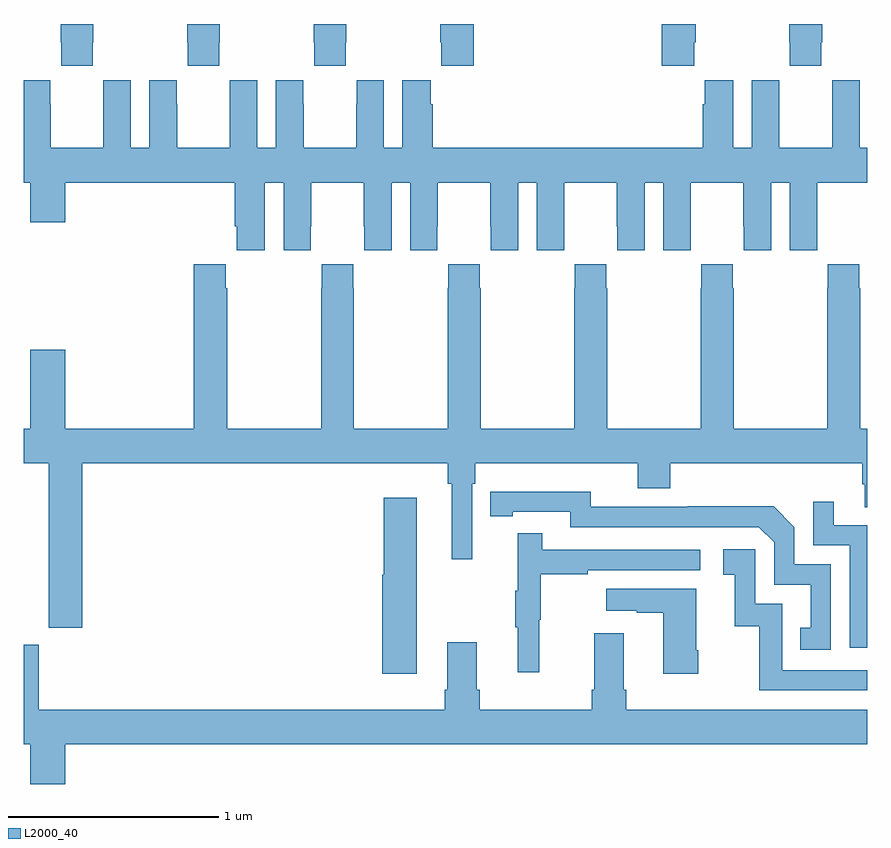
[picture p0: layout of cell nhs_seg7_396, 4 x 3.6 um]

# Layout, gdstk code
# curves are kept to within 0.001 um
import gdstk
lib = gdstk.Library(unit=1e-6, precision=1e-09)
def P(c, l, *ps):  # polygons
    for p in ps: c.add(gdstk.Polygon(p, *l))
L2000_40 = (2000, 40)

nhs_seg7_396 = lib.new_cell('nhs_seg7_396')
P(nhs_seg7_396, L2000_40, [(141.927,1035.913),(141.93,1035.913),(141.93,1036),(141.775,1036),(141.775,1035.913),(141.777,1035.913),(141.777,1035.801),(141.927,1035.801)],
  [(141.327,1035.913),(141.33,1035.913),(141.33,1036),(141.175,1036),(141.175,1035.913),(141.177,1035.913),(141.177,1035.801),(141.327,1035.801)],
  [(144.783,1035.913),(144.786,1035.913),(144.786,1036),(144.631,1036),(144.631,1035.913),(144.633,1035.913),(144.633,1035.801),(144.783,1035.801)],
  [(144.179,1035.913),(144.186,1035.913),(144.186,1036),(144.026,1036),(144.026,1035.801),(144.179,1035.801)],
  [(142.527,1035.913),(142.53,1035.913),(142.53,1036),(142.375,1036),(142.375,1035.913),(142.377,1035.913),(142.377,1035.801),(142.527,1035.801)],
  [(143.135,1036),(142.975,1036),(142.975,1035.913),(142.981,1035.913),(142.981,1035.801),(143.135,1035.801)],
  [(142.94,1035.62),(142.93,1035.62),(142.93,1035.733),(142.796,1035.733),(142.796,1035.412),(142.708,1035.412),(142.708,1035.733),(142.578,1035.733),(142.578,1035.62),(142.577,1035.62),(142.577,1035.412),(142.327,1035.412),(142.327,1035.62),(142.326,1035.62),(142.326,1035.733),(142.196,1035.733),(142.196,1035.412),(142.108,1035.412),(142.108,1035.733),(141.978,1035.733),(141.978,1035.62),(141.977,1035.62),(141.977,1035.412),(141.727,1035.412),(141.727,1035.62),(141.726,1035.62),(141.726,1035.733),(141.596,1035.733),(141.596,1035.412),(141.508,1035.412),(141.508,1035.733),(141.378,1035.733),(141.378,1035.62),(141.377,1035.62),(141.377,1035.412),(141.127,1035.412),(141.127,1035.62),(141.126,1035.62),(141.126,1035.733),(141,1035.733),(141,1035.248),(141.032,1035.248),(141.032,1035.06),(141.196,1035.06),(141.196,1035.248),(142.001,1035.248),(142.001,1035.04),(142.01,1035.04),(142.01,1034.928),(142.144,1034.928),(142.144,1035.248),(142.232,1035.248),(142.232,1034.928),(142.362,1034.928),(142.362,1035.04),(142.363,1035.04),(142.363,1035.248),(142.613,1035.248),(142.613,1035.04),(142.614,1035.04),(142.614,1034.928),(142.744,1034.928),(142.744,1035.248),(142.832,1035.248),(142.832,1034.928),(142.962,1034.928),(142.962,1035.04),(142.963,1035.04),(142.963,1035.248),(143.213,1035.248),(143.213,1035.04),(143.214,1035.04),(143.214,1034.928),(143.344,1034.928),(143.344,1035.248),(143.432,1035.248),(143.432,1034.928),(143.562,1034.928),(143.562,1035.04),(143.563,1035.04),(143.563,1035.248),(143.813,1035.248),(143.813,1035.04),(143.814,1035.04),(143.814,1034.928),(143.944,1034.928),(143.944,1035.248),(144.032,1035.248),(144.032,1034.928),(144.162,1034.928),(144.162,1035.04),(144.163,1035.04),(144.163,1035.248),(144.413,1035.248),(144.413,1035.04),(144.414,1035.04),(144.414,1034.928),(144.544,1034.928),(144.544,1035.248),(144.632,1035.248),(144.632,1034.928),(144.762,1034.928),(144.762,1035.04),(144.763,1035.04),(144.763,1035.248),(145,1035.248),(145,1035.412),(144.964,1035.412),(144.964,1035.733),(144.834,1035.733),(144.834,1035.62),(144.833,1035.62),(144.833,1035.412),(144.583,1035.412),(144.583,1035.62),(144.582,1035.62),(144.582,1035.733),(144.452,1035.733),(144.452,1035.412),(144.364,1035.412),(144.364,1035.733),(144.23,1035.733),(144.23,1035.62),(144.221,1035.62),(144.221,1035.412),(142.94,1035.412)],
  [(141.278,1033.916),(143.011,1033.916),(143.011,1033.82),(143.03,1033.82),(143.03,1033.461),(143.127,1033.461),(143.127,1033.82),(143.141,1033.82),(143.141,1033.916),(143.912,1033.916),(143.912,1033.799),(144.065,1033.799),(144.065,1033.916),(144.977,1033.916),(144.977,1033.818),(144.989,1033.818),(144.989,1033.708),(145,1033.708),(145,1034.08),(144.966,1034.08),(144.966,1034.747),(144.963,1034.747),(144.963,1034.86),(144.813,1034.86),(144.813,1034.747),(144.811,1034.747),(144.811,1034.08),(144.366,1034.08),(144.366,1034.747),(144.363,1034.747),(144.363,1034.86),(144.213,1034.86),(144.213,1034.747),(144.211,1034.747),(144.211,1034.08),(143.766,1034.08),(143.766,1034.747),(143.763,1034.747),(143.763,1034.86),(143.613,1034.86),(143.613,1034.747),(143.611,1034.747),(143.611,1034.08),(143.166,1034.08),(143.166,1034.747),(143.163,1034.747),(143.163,1034.86),(143.013,1034.86),(143.013,1034.747),(143.011,1034.747),(143.011,1034.08),(142.566,1034.08),(142.566,1034.747),(142.563,1034.747),(142.563,1034.86),(142.413,1034.86),(142.413,1034.747),(142.411,1034.747),(142.411,1034.08),(141.966,1034.08),(141.966,1034.747),(141.959,1034.747),(141.959,1034.86),(141.806,1034.86),(141.806,1034.08),(141.196,1034.08),(141.196,1034.455),(141.032,1034.455),(141.032,1034.08),(141,1034.08),(141,1033.916),(141.118,1033.916),(141.118,1033.137),(141.278,1033.137)],
  [(144.828,1033.437),(144.654,1033.437),(144.654,1033.614),(144.556,1033.712),(144.148,1033.712),(144.148,1033.71),(143.688,1033.71),(143.688,1033.783),(143.212,1033.782),(143.212,1033.666),(143.32,1033.666),(143.32,1033.686),(143.592,1033.686),(143.592,1033.614),(144.486,1033.614),(144.558,1033.542),(144.558,1033.341),(144.731,1033.341),(144.731,1033.137),(144.682,1033.137),(144.682,1033.032),(144.828,1033.032)],
  [(142.864,1033.753),(142.706,1033.753),(142.706,1033.389),(142.7,1033.389),(142.7,1032.918),(142.864,1032.918)],
  [(145,1033.623),(144.841,1033.623),(144.841,1033.735),(144.744,1033.735),(144.744,1033.527),(144.918,1033.527),(144.918,1033.041),(145,1033.041)],
  [(143.444,1033.176),(143.452,1033.176),(143.452,1033.39),(143.675,1033.39),(143.675,1033.41),(144.208,1033.41),(144.208,1033.506),(143.459,1033.506),(143.459,1033.585),(143.342,1033.585),(143.342,1033.313),(143.331,1033.313),(143.331,1033.139),(143.342,1033.139),(143.342,1032.927),(143.444,1032.927)],
  [(145,1032.936),(144.597,1032.936),(144.597,1033.251),(144.468,1033.251),(144.468,1033.51),(144.318,1033.51),(144.318,1033.389),(144.371,1033.389),(144.371,1033.143),(144.489,1033.143),(144.489,1032.84),(145,1032.84)],
  [(144.198,1033.03),(144.19,1033.03),(144.19,1033.321),(143.763,1033.321),(143.763,1033.217),(143.906,1033.217),(143.906,1033.207),(144.032,1033.207),(144.032,1032.918),(144.198,1032.918)],
  [(141.196,1032.584),(145,1032.584),(145,1032.748),(143.858,1032.748),(143.858,1032.844),(143.845,1032.844),(143.845,1033.111),(143.705,1033.111),(143.705,1032.844),(143.693,1032.844),(143.693,1032.748),(143.162,1032.748),(143.162,1032.844),(143.149,1032.844),(143.149,1033.069),(143.009,1033.069),(143.009,1032.844),(142.997,1032.844),(142.997,1032.748),(141.07,1032.748),(141.07,1033.057),(141,1033.057),(141,1032.584),(141.032,1032.584),(141.032,1032.396),(141.196,1032.396)])

lib.write_gds('nhs_seg7_396.gds')
